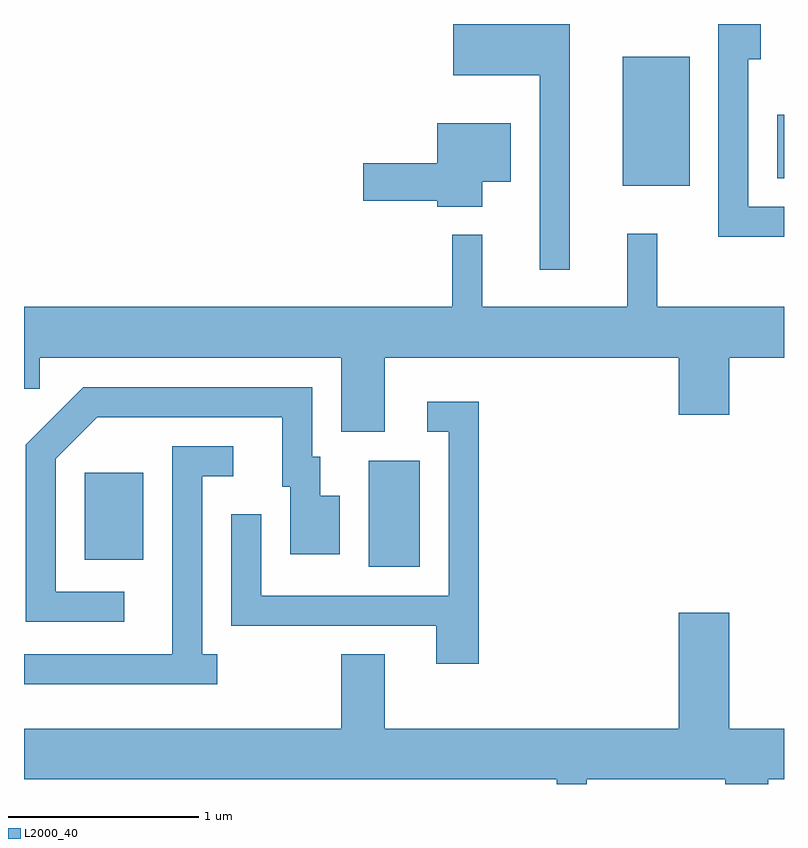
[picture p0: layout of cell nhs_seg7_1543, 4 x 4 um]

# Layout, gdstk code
import gdstk
lib = gdstk.Library(unit=1e-6, precision=1e-09)
def R(c, l, rs):  # rectangles x0, y0, x1, y1
    for r in rs: c.add(gdstk.rectangle(r[:2], r[2:], *l))
def P(c, l, *ps):  # polygons
    for p in ps: c.add(gdstk.Polygon(p, *l))
L2000_40 = (2000, 40)

nhs_seg7_1543 = lib.new_cell('nhs_seg7_1543')
R(nhs_seg7_1543, L2000_40, [(233.426,1755.396,233.694,1755.954), (231.931,1755.431,232.239,1755.889), (234.761,1757.401,235.114,1758.079), (235.576,1757.441,235.611,1757.774)])
P(nhs_seg7_1543, L2000_40, [(234.484,1758.252),(233.871,1758.252),(233.871,1757.981),(234.326,1757.981),(234.326,1756.958),(234.484,1756.958)],
  [(235.611,1757.289),(235.424,1757.289),(235.424,1758.066),(235.489,1758.066),(235.489,1758.252),(235.266,1758.252),(235.266,1757.131),(235.611,1757.131)],
  [(234.024,1757.421),(234.174,1757.421),(234.174,1757.729),(233.786,1757.729),(233.786,1757.519),(233.396,1757.519),(233.396,1757.321),(233.786,1757.321),(233.786,1757.291),(234.024,1757.291)],
  [(233.509,1756.496),(235.056,1756.496),(235.056,1756.196),(235.324,1756.196),(235.324,1756.496),(235.611,1756.496),(235.611,1756.764),(234.944,1756.764),(234.944,1757.148),(234.786,1757.148),(234.786,1756.764),(234.024,1756.764),(234.024,1757.143),(233.866,1757.143),(233.866,1756.764),(231.611,1756.764),(231.611,1756.331),(231.694,1756.331),(231.694,1756.496),(233.281,1756.496),(233.281,1756.106),(233.509,1756.106)],
  [(232.138,1755.264),(231.779,1755.264),(231.779,1755.964),(231.997,1756.181),(232.971,1756.181),(232.971,1755.816),(233.011,1755.816),(233.011,1755.461),(233.274,1755.461),(233.274,1755.769),(233.169,1755.769),(233.169,1755.974),(233.129,1755.974),(233.129,1756.339),(231.924,1756.339),(231.621,1756.037),(231.621,1755.106),(232.138,1755.106)],
  [(234.004,1756.264),(233.733,1756.264),(233.733,1756.106),(233.846,1756.106),(233.846,1755.244),(232.859,1755.244),(232.859,1755.673),(232.701,1755.673),(232.701,1755.086),(233.781,1755.086),(233.781,1754.886),(234.004,1754.886)],
  [(232.628,1754.934),(232.549,1754.934),(232.549,1755.871),(232.713,1755.871),(232.713,1756.029),(232.391,1756.029),(232.391,1754.934),(231.611,1754.934),(231.611,1754.776),(232.628,1754.776)],
  [(234.574,1754.276),(235.301,1754.276),(235.301,1754.252),(235.529,1754.252),(235.529,1754.276),(235.611,1754.276),(235.611,1754.544),(235.324,1754.544),(235.324,1755.154),(235.056,1755.154),(235.056,1754.544),(233.509,1754.544),(233.509,1754.934),(233.281,1754.934),(233.281,1754.544),(231.611,1754.544),(231.611,1754.276),(234.416,1754.276),(234.416,1754.252),(234.574,1754.252)])

lib.write_gds('nhs_seg7_1543.gds')
